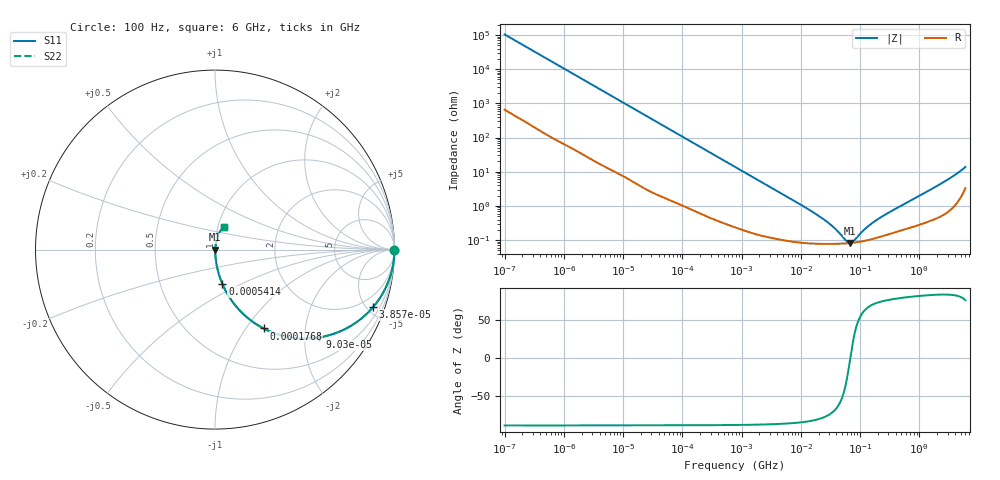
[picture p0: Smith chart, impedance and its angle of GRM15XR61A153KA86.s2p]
!Murata Part Number: GRM15XR61A153KA86
!These Parameters are Measured in Series Mode Connection
!Data Generated on Mar 30, 2021
!  o--ll--o
!Port1  Port2
!  o------o
!Operation Temp=25[degC], DC Bias Voltage=0[V]
!Freq. Start=100[Hz] Stop=6[GHz] 401[Steps]
# Hz S RI R 50
!Freq.(Hz) S11(Real) S11(Imag) S21(Real) S21(Imag) S12(Real) S12(Imag) S22(Real) S22(Imag)
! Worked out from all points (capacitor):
!   401 points, 100 Hz to 6 GHz, reference 50 ohm
!   read as one part in series: C = 15.3 nF near 109 Hz
!   lowest |Z| = 82.2 mohm at 68.17 MHz (marker M1)
!   series resonance near 68.47 MHz, so ESL is about 350 pH
!   S11 on the Smith chart (normalised r, x): 100 Hz: open; 38.57 kHz: 1.04, -5.51; 90.3 kHz: 1.02, -2.36; 176.8 kHz: 1.01, -1.21; 541.4 kHz: 1.01, -0.40; 6 GHz: 1.07, +0.27
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100  1 -0.000963  7e-06 0.000963  7e-06 0.000963  1 -0.000963
2008  0.9995 -0.0191  0.000487 0.0191  0.000487 0.0191  0.9995 -0.0191
11009  0.9886 -0.1028  0.0114 0.1028  0.0114 0.1028  0.9886 -0.1028
22537  0.9555 -0.2027  0.0445 0.2027  0.0445 0.2027  0.9555 -0.2027
38569  0.8818 -0.3191  0.1182 0.3191  0.1182 0.3191  0.8818 -0.3191
40335  0.8723 -0.33  0.1277 0.33  0.1277 0.33  0.8723 -0.33
60352  0.7551 -0.4258  0.2449 0.4258  0.2449 0.4258  0.7551 -0.4258
90302  0.5821 -0.4886  0.4179 0.4886  0.4179 0.4886  0.5821 -0.4886
176758  0.271 -0.4391  0.729 0.4391  0.729 0.4391  0.271 -0.4391
289253  0.1243 -0.3239  0.8757 0.3239  0.8757 0.3239  0.1243 -0.3239
541393  0.0408 -0.1907  0.9592 0.1907  0.9592 0.1907  0.0408 -0.1907
774597  0.0214 -0.1364  0.9786 0.1364  0.9786 0.1364  0.0214 -0.1364
2481164  0.00319 -0.0438  0.9968 0.0438  0.9968 0.0438  0.00319 -0.0438
1.555665e7  0.000836 -0.00674  0.9992 0.00674  0.9992 0.00674  0.000836 -0.00674
3.045065e7  0.000781 -0.00291  0.9992 0.00291  0.9992 0.00291  0.000781 -0.00291
5.960426e7  0.000806 -0.000446  0.9992 0.000446  0.9992 0.000446  0.000806 -0.000446
6.817316e7  0.000821 -1.35e-05  0.9992 1.35e-05  0.9992 1.35e-05  0.000821 -1.35e-05
7.797396e7  0.000842 0.000417  0.9992 -0.000417  0.9992 -0.000417  0.000842 0.000417
1.459435e8  0.00103 0.00259  0.999 -0.00259  0.999 -0.00259  0.00103 0.00259
3.124326e8  0.00154 0.00635  0.9985 -0.00635  0.9985 -0.00635  0.00154 0.00635
2.240541e9  0.0066 0.0425  0.9934 -0.0425  0.9934 -0.0425  0.0066 0.0425
6e9  0.048 0.1237  0.952 -0.1237  0.952 -0.1237  0.048 0.1237
